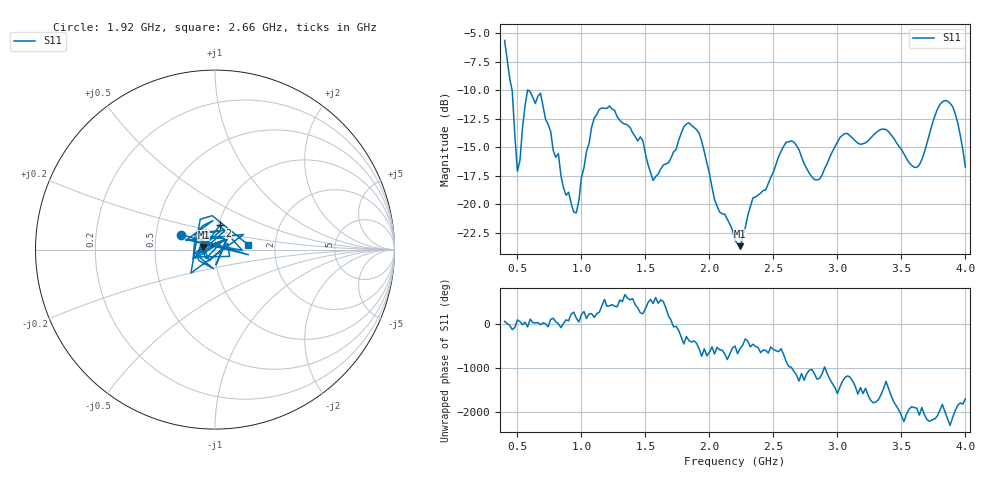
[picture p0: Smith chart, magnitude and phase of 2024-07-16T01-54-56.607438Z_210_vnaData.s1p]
!Created with skrf (http://scikit-rf.org).
# Hz S RI R 50.0
!freq ReS11 ImS11
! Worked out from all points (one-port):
!   181 points, 400 MHz to 4 GHz, reference 50 ohm
!   lowest |S11| = -23.6 dB at 2.24 GHz (marker M1), VSWR 1.14, Z = 44 + j1.28 ohm
!   |S11| at or under -10 dB: 458.2 MHz to 579.6 MHz (121.4 MHz wide, 23.4 % of centre); 583.5 MHz to end of sweep
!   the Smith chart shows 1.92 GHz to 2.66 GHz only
!   S11 on the Smith chart (normalised r, x): 1.92 GHz: 0.68, +0.12; 2 GHz: 1.02, +0.28; 2.66 GHz: 1.45, +0.08
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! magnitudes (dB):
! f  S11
! 400 MHz  -5.7
! 460 MHz  -10.1
! 500 MHz  -17.1
! 580 MHz  -10.0
! 680 MHz  -10.3
! 860 MHz  -18.5
! 960 MHz  -20.7
! 1.1 GHz  -12.5
! 1.22 GHz  -11.4
! 1.3 GHz  -12.6
! 1.48 GHz  -14.4
! 1.56 GHz  -17.9
! 1.76 GHz  -14.4
! 1.84 GHz  -12.9
! 1.92 GHz  -13.8
! 2 GHz  -17.3
! 2.2 GHz  -23.1
! 2.24 GHz  -23.6
! 2.34 GHz  -19.4
! 2.66 GHz  -14.5
! 2.84 GHz  -17.8
! 3.1 GHz  -14.0
! 3.38 GHz  -13.5
! 3.56 GHz  -16.3
! 3.64 GHz  -16.5
! 3.84 GHz  -10.9
! 3.92 GHz  -12.0
! 4 GHz  -16.7
